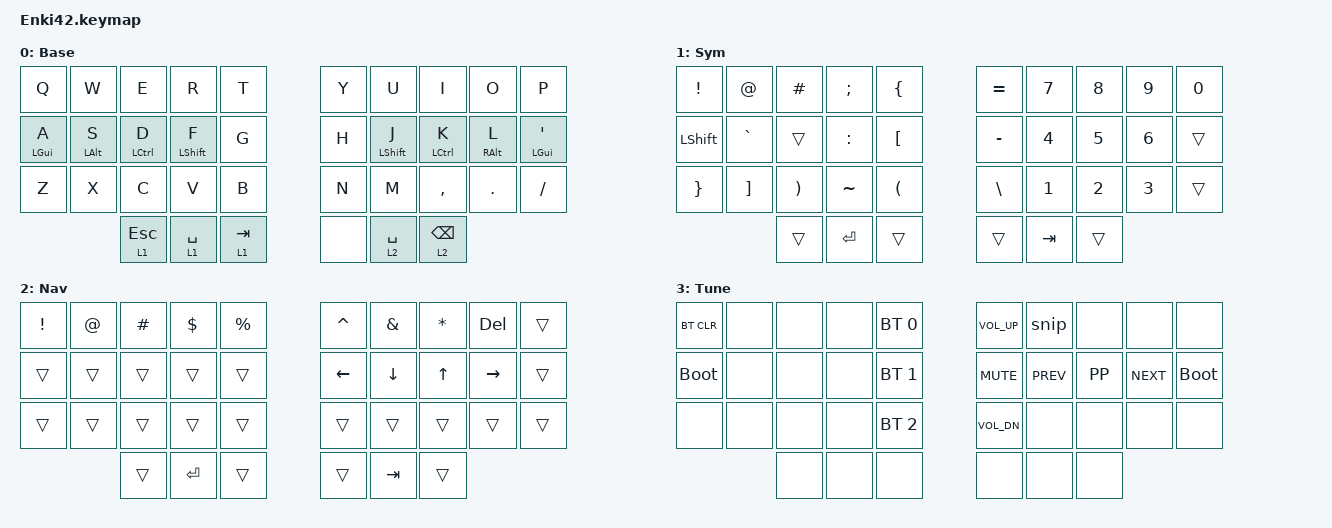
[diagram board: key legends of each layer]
#include <behaviors.dtsi>
#include <dt-bindings/zmk/bt.h>
#include <dt-bindings/zmk/keys.h>

/ {
    behaviors {
        hm: homerow_mods {
            compatible = "zmk,behavior-hold-tap";
            label = "HOMEROW_MODS";
            bindings = <&kp>, <&kp>;

            #binding-cells = <2>;
            tapping-term-ms = <200>;
            quick-tap-ms = <0>;
            flavor = "tap-preferred";
        };

        hmr: hmr {
            compatible = "zmk,behavior-hold-tap";
            label = "HMR";
            bindings = <&kp>, <&kp>;

            #binding-cells = <2>;
            tapping-term-ms = <280>;
            quick-tap-ms = <175>;
            require-prior-idle-ms = <150>;
            flavor = "balanced";
            hold-trigger-on-release;
            hold-trigger-key-positions = <9 33 5 6 7 8 9 15 16 17 18 19 25 26 27 28 29 33 34 35 32 31 30>;
        };

        hml: hml {
            compatible = "zmk,behavior-hold-tap";
            label = "HML";
            bindings = <&kp>, <&kp>;

            #binding-cells = <2>;
            tapping-term-ms = <280>;
            quick-tap-ms = <175>;
            require-prior-idle-ms = <150>;
            flavor = "balanced";
            hold-trigger-on-release;
            hold-trigger-key-positions = <0 1 2 3 4 10 11 12 13 14 20 21 22 23 24 30 31 32 33 34>;
        };
    };

    macros {
        snip: snip {
            compatible = "zmk,behavior-macro";
            #binding-cells = <0>;
            bindings = <&kp LSHFT &kp LEFT_GUI &kp S>;
            label = "SNIP";
        };

        lock: lock {
            compatible = "zmk,behavior-macro";
            #binding-cells = <0>;
            bindings = <&kp LEFT_GUI &kp L>;
            label = "LOCK";
        };
    };

    combos {
        compatible = "zmk,combos";

        to_base {
            bindings = <&to 0>;
            key-positions = <13 16>;
        };

        to_cyr {
            bindings = <&none>;
            key-positions = <14 15>;
        };
    };

    keymap {
        compatible = "zmk,keymap";

        Base {
            label = "Base";
            bindings = <
  &kp Q            &kp W            &kp E                &kp R              &kp T        &kp Y  &kp U              &kp I                &kp O             &kp P
  &hml LEFT_GUI A  &hml LEFT_ALT S  &hml LEFT_CONTROL D  &hml LEFT_SHIFT F  &kp G        &kp H  &hmr LEFT_SHIFT J  &hmr LEFT_CONTROL K  &hmr RIGHT_ALT L  &hmr LEFT_GUI SQT
  &kp Z            &kp X            &kp C                &kp V              &kp B        &kp N  &kp M              &kp COMMA            &kp DOT           &kp SLASH
                                    &lt 1 ESC            &lt 1 SPACE        &lt 1 TAB    &none  &lt 2 SPACE        &lt 2 BACKSPACE
            >;
        };

        Sym {
            label = "Sym";
            bindings = <
  &kp EXCL   &kp AT     &kp HASH  &kp SEMI   &kp LBRC    &kp EQUAL  &kp N7   &kp N8  &kp N9  &kp N0
  &kp LSHFT  &kp GRAVE  &trans    &kp COLON  &kp LBKT    &kp MINUS  &kp N4   &kp N5  &kp N6  &trans
  &kp RBRC   &kp RBKT   &kp RPAR  &kp TILDE  &kp LPAR    &kp BSLH   &kp N1   &kp N2  &kp N3  &trans
                        &trans    &kp ENTER  &trans      &trans     &kp TAB  &trans
            >;
        };

        Nav {
            label = "Nav";
            bindings = <
  &kp EXCL  &kp AT  &kp HASH  &kp DOLLAR  &kp PERCENT    &kp CARET       &kp AMPS        &kp STAR      &kp DEL          &trans
  &trans    &trans  &trans    &trans      &trans         &kp LEFT_ARROW  &kp DOWN_ARROW  &kp UP_ARROW  &kp RIGHT_ARROW  &trans
  &trans    &trans  &trans    &trans      &trans         &trans          &trans          &trans        &trans           &trans
                    &trans    &kp ENTER   &trans         &trans          &kp TAB         &trans
            >;
        };

        Tune {
            label = "Tune";
            bindings = <
  &bt BT_CLR   &none  &none  &none  &bt BT_SEL 0    &kp C_VOLUME_UP  &snip       &none     &none       &none
  &bootloader  &none  &none  &none  &bt BT_SEL 1    &kp K_MUTE       &kp K_PREV  &kp K_PP  &kp K_NEXT  &bootloader
  &none        &none  &none  &none  &bt BT_SEL 2    &kp C_VOL_DN     &none       &none     &none       &none
                      &none  &none  &none           &none            &none       &none
            >;
        };
    };

    conditional_layers {
        compatible = "zmk,conditional-layers";

        raise_lower {
            if-layers = <2 1>;
            then-layer = <3>;
        };
    };
};
